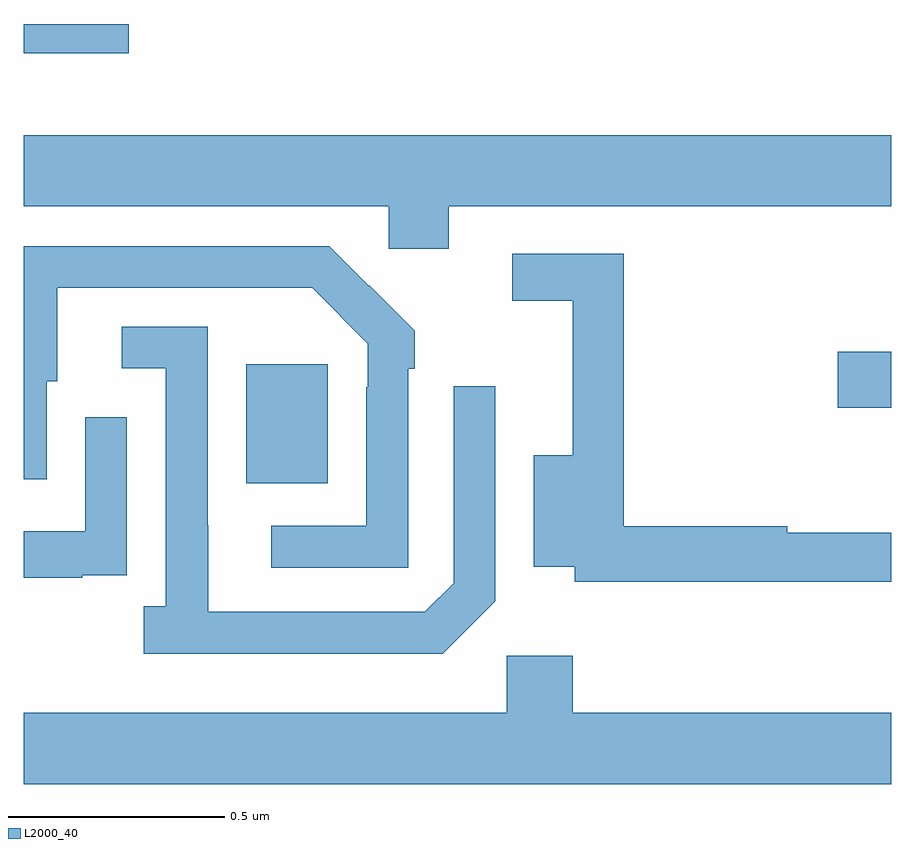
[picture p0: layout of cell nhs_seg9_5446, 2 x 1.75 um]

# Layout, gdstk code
import gdstk
lib = gdstk.Library(unit=1e-6, precision=1e-09)
def R(c, l, rs):  # rectangles x0, y0, x1, y1
    for r in rs: c.add(gdstk.rectangle(r[:2], r[2:], *l))
def P(c, l, *ps):  # polygons
    for p in ps: c.add(gdstk.Polygon(p, *l))
L2000_40 = (2000, 40)

nhs_seg9_5446 = lib.new_cell('nhs_seg9_5446')
R(nhs_seg9_5446, L2000_40, [(179.513,1202.441,179.701,1202.716), (180.876,1202.615,181,1202.745), (179,1203.432,179.242,1203.5)])
P(nhs_seg9_5446, L2000_40, [(179.98,1203.08),(181,1203.08),(181,1203.244),(179,1203.244),(179,1203.08),(179.841,1203.08),(179.841,1202.982),(179.98,1202.982)],
  [(179.886,1202.705),(179.901,1202.705),(179.901,1202.793),(179.796,1202.898),(179.795,1202.897),(179.704,1202.988),(179,1202.988),(179,1202.451),(179.053,1202.451),(179.053,1202.676),(179.077,1202.676),(179.077,1202.892),(179.665,1202.892),(179.793,1202.763),(179.793,1202.663),(179.79,1202.663),(179.79,1202.343),(179.571,1202.343),(179.571,1202.247),(179.886,1202.247)],
  [(181,1202.327),(180.76,1202.327),(180.76,1202.342),(180.383,1202.342),(180.383,1202.97),(180.126,1202.97),(180.126,1202.862),(180.266,1202.862),(180.266,1202.506),(180.176,1202.506),(180.176,1202.249),(180.27,1202.249),(180.27,1202.214),(181,1202.214)],
  [(180.087,1202.169),(180.087,1202.665),(179.991,1202.665),(179.991,1202.211),(179.925,1202.145),(179.425,1202.145),(179.425,1202.345),(179.424,1202.345),(179.424,1202.802),(179.226,1202.802),(179.226,1202.706),(179.328,1202.706),(179.328,1202.158),(179.277,1202.158),(179.277,1202.048),(179.966,1202.048)],
  [(179.135,1202.229),(179.237,1202.229),(179.237,1202.338),(179.238,1202.338),(179.238,1202.593),(179.142,1202.593),(179.142,1202.331),(179,1202.331),(179,1202.223),(179.135,1202.223)],
  [(181,1201.912),(180.266,1201.912),(180.266,1202.044),(180.114,1202.044),(180.114,1201.912),(179,1201.912),(179,1201.748),(181,1201.748)])

lib.write_gds('nhs_seg9_5446.gds')
